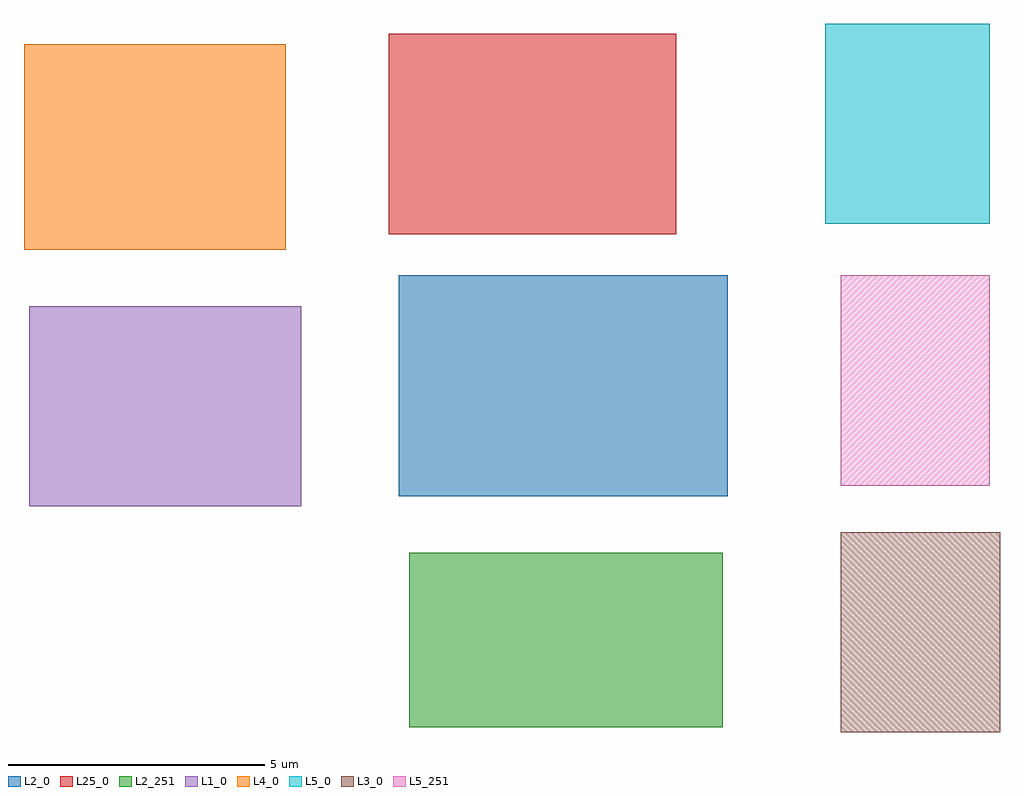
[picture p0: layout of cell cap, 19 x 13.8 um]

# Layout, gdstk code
import gdstk
lib = gdstk.Library(unit=1e-6, precision=5e-10)
def R(c, l, rs):  # rectangles x0, y0, x1, y1
    for r in rs: c.add(gdstk.rectangle(r[:2], r[2:], *l))
L1_0 = (1, 0)
L2_0 = (2, 0)
L2_251 = (2, 251)
L3_0 = (3, 0)
L4_0 = (4, 0)
L5_0 = (5, 0)
L5_251 = (5, 251)
L25_0 = (25, 0)

cap = lib.new_cell('cap')
R(cap, L1_0, [(-5.6,-3.5,-0.3,0.4)])
R(cap, L2_0, [(1.6,-3.3,8,1)])
R(cap, L2_251, [(1.8,-7.8,7.9,-4.4)])
R(cap, L3_0, [(10.2,-7.9,13.3,-4)])
R(cap, L4_0, [(-5.7,1.5,-0.6,5.5)])
R(cap, L5_0, [(9.9,2,13.1,5.9)])
R(cap, L5_251, [(10.2,-3.1,13.1,1)])
R(cap, L25_0, [(1.4,1.8,7,5.7)])

lib.write_gds('cap.gds')
